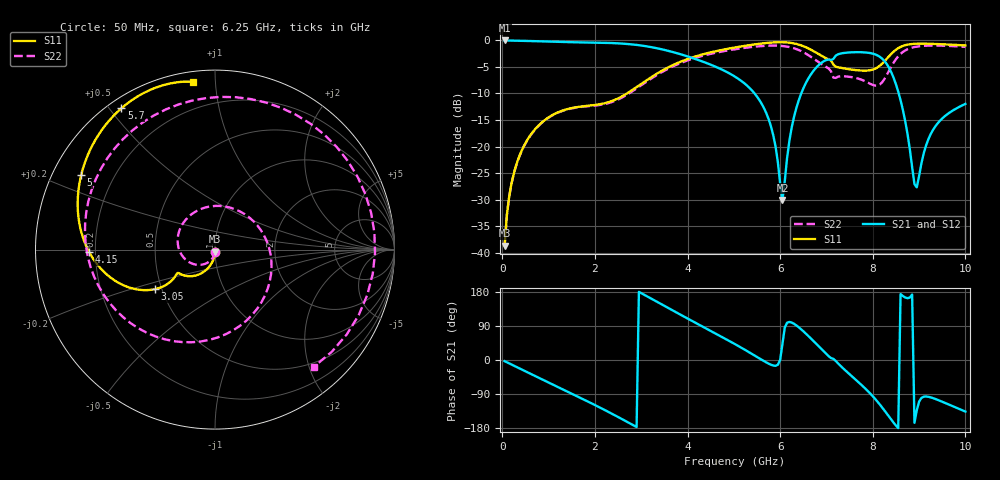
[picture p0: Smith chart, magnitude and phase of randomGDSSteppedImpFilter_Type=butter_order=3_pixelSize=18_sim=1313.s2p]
! freq	dB(S11)	phase(S11)	dB(S12)	phase(S12)
!  dB(S21)	phase(S21)	dB(S22)	phase(S22)
!S-par simulation data
#  GHz  S  DB  R 50
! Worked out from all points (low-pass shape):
!   200 points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, 50 MHz to 10 GHz, reference 50 ohm
!   highest |S21| = -0.02 dB at 50 MHz (marker M1); lowest = -30.1 dB at 6.05 GHz (marker M2)
!   |S21| within 3 dB of the highest: start of sweep to 4.001 GHz; 7.188 GHz to 8.137 GHz (948.9 MHz wide, 12.4 % of centre)
!   lowest |S11| = -38.7 dB at 50 MHz (marker M3), VSWR 1.02, Z = 50.1 - j1.16 ohm
!   |S11| at or under -10 dB: start of sweep to 2.69 GHz
!   |S22| runs from -38.7 to -1.0 dB; largest |S21 - S12| = 0
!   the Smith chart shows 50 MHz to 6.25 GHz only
!   S11 on the Smith chart (normalised r, x): 50 MHz: 1.00, -0.02; 3.05 GHz: 0.46, -0.24; 4.15 GHz: 0.18, -0.01; 5 GHz: 0.08, +0.26; 5.7 GHz: 0.04, +0.54; 6.25 GHz: 0.05, +0.88
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0.05  -38.67 -85.0  -0.02 -3.0  -0.02 -3.0  -38.74 -86.8
0.2  -26.87 -96.7  -0.04 -12.0  -0.04 -12.0  -26.94 -104.1
0.5  -19.33 -110.2  -0.10 -29.9  -0.10 -29.9  -19.41 -129.2
1.75  -12.40 -146.5  -0.38 -103.6  -0.38 -103.6  -12.48 118.4
3.05  -7.90 -146.7  -1.03 173.0  -1.03 173.0  -8.15 -48.6
3.4  -5.95 -154.4  -1.60 149.4  -1.60 149.4  -6.20 -88.2
4.15  -3.09 -178.8  -3.45 99.8  -3.45 99.8  -3.34 -162.9
5  -1.37 150.8  -6.70 43.6  -6.70 43.6  -1.71 114.5
5.05  -1.30 149.0  -6.97 40.2  -6.97 40.2  -1.64 109.3
5.7  -0.50 123.6  -13.68 -6.2  -13.68 -6.2  -1.02 33.7
6.05  -0.35 107.5  -30.05 43.2  -30.05 43.2  -1.06 -16.6
6.25  -0.50 97.5  -16.37 98.8  -16.37 98.8  -1.37 -49.9
6.7  -1.92 75.9  -5.95 52.5  -5.95 52.5  -3.30 -139.9
7.1  -3.84 63.5  -3.70 4.9  -3.70 4.9  -5.85 120.3
7.65  -5.61 66.6  -2.22 -54.0  -2.22 -54.0  -7.11 6.0
8.05  -5.34 71.3  -2.64 -102.5  -2.64 -102.5  -8.51 -101.0
8.35  -3.00 71.4  -5.14 -149.3  -5.14 -149.3  -5.73 144.0
8.6  -1.23 58.4  -11.26 174.0  -11.26 174.0  -2.55 71.7
8.9  -0.65 40.9  -27.06 -165.8  -27.06 -165.8  -1.25 16.7
9  -0.62 35.8  -25.54 -109.9  -25.54 -109.9  -1.11 3.2
9.45  -0.72 16.0  -15.14 -107.6  -15.14 -107.6  -0.99 -42.6
10  -0.96 -5.2  -11.96 -136.1  -11.96 -136.1  -1.23 -83.9
